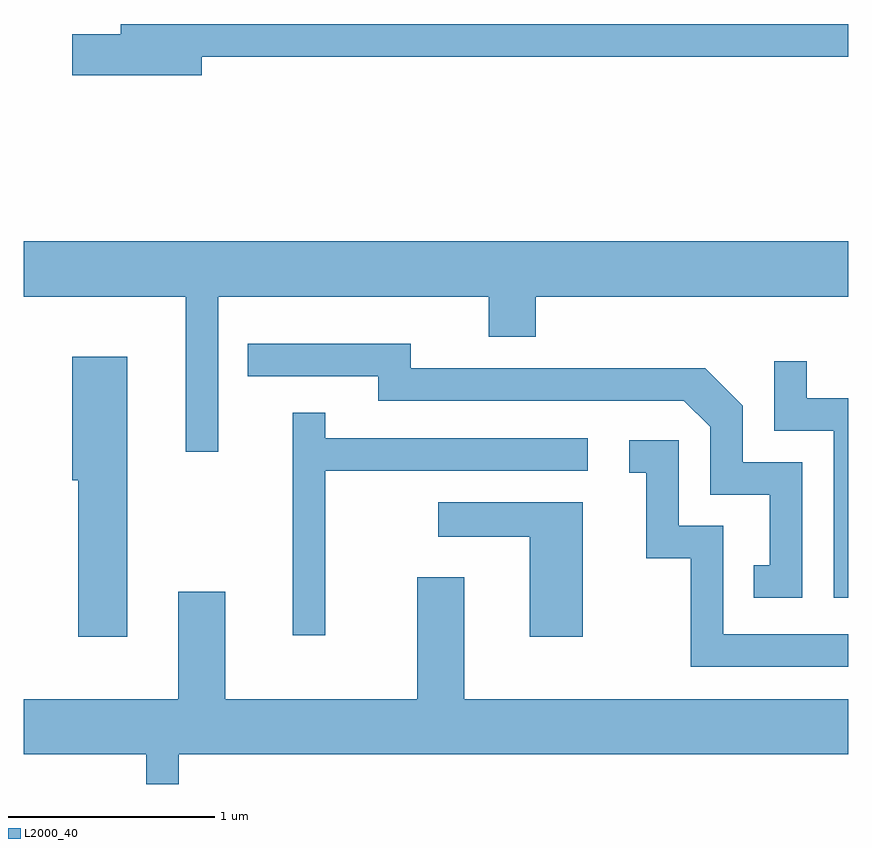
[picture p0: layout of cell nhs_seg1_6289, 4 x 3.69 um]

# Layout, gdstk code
import gdstk
lib = gdstk.Library(unit=1e-6, precision=1e-09)
def P(c, l, *ps):  # polygons
    for p in ps: c.add(gdstk.Polygon(p, *l))
L2000_40 = (2000, 40)

nhs_seg1_6289 = lib.new_cell('nhs_seg1_6289')
P(nhs_seg1_6289, L2000_40, [(376.474,845.241),(379.611,845.241),(379.611,845.399),(376.081,845.399),(376.081,845.349),(375.846,845.349),(375.846,845.151),(376.474,845.151)],
  [(376.554,844.076),(377.866,844.076),(377.866,843.881),(378.094,843.881),(378.094,844.076),(379.611,844.076),(379.611,844.344),(375.611,844.344),(375.611,844.076),(376.396,844.076),(376.396,843.323),(376.554,843.323)],
  [(379.389,843.274),(379.099,843.274),(379.099,843.547),(378.917,843.729),(377.489,843.729),(377.489,843.849),(376.698,843.849),(376.698,843.691),(377.331,843.691),(377.331,843.571),(378.814,843.571),(378.941,843.444),(378.941,843.116),(379.231,843.116),(379.231,842.774),(379.153,842.774),(379.153,842.616),(379.389,842.616)],
  [(376.114,843.784),(375.846,843.784),(375.846,843.186),(375.876,843.186),(375.876,842.426),(376.114,842.426)],
  [(379.611,843.584),(379.409,843.584),(379.409,843.763),(379.251,843.763),(379.251,843.426),(379.541,843.426),(379.541,842.616),(379.611,842.616)],
  [(377.074,843.231),(378.348,843.231),(378.348,843.389),(377.074,843.389),(377.074,843.513),(376.916,843.513),(376.916,842.433),(377.074,842.433)],
  [(379.611,842.439),(379.004,842.439),(379.004,842.964),(378.789,842.964),(378.789,843.379),(378.548,843.379),(378.548,843.221),(378.631,843.221),(378.631,842.806),(378.846,842.806),(378.846,842.281),(379.611,842.281)],
  [(378.324,843.079),(377.623,843.079),(377.623,842.911),(378.066,842.911),(378.066,842.426),(378.324,842.426)],
  [(376.364,841.856),(379.611,841.856),(379.611,842.124),(377.749,842.124),(377.749,842.714),(377.521,842.714),(377.521,842.124),(376.589,842.124),(376.589,842.644),(376.361,842.644),(376.361,842.124),(375.611,842.124),(375.611,841.856),(376.206,841.856),(376.206,841.712),(376.364,841.712)])

lib.write_gds('nhs_seg1_6289.gds')
